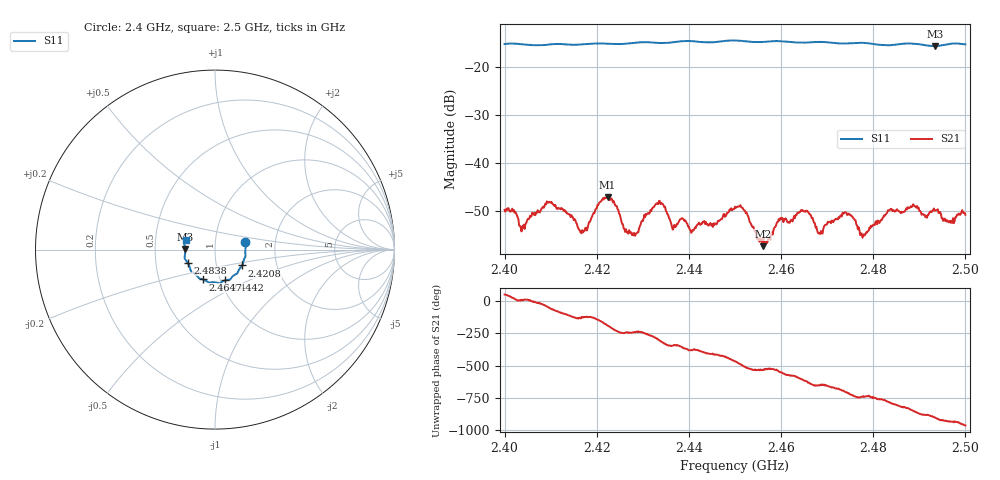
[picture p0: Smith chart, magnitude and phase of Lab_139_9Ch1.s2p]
# Hz S RI R 50
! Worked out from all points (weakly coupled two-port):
!   601 points, 2.4 GHz to 2.5 GHz, reference 50 ohm
!   highest |S21| = -47.14 dB at 2.4223 GHz (marker M1); lowest = -57.3 dB at 2.456 GHz (marker M2)
!   lowest |S11| = -15.6 dB at 2.4935 GHz (marker M3), VSWR 1.40, Z = 35.8 + j0.187 ohm
!   |S11| at or under -10 dB: start of sweep to end of sweep
!   S12 and S22 are empty: the file has one direction only
!   S11 on the Smith chart (normalised r, x): 2.4 GHz: 1.40, +0.12; 2.4208 GHz: 1.33, -0.24; 2.4442 GHz: 1.05, -0.37; 2.4647 GHz: 0.83, -0.29; 2.4838 GHz: 0.73, -0.11; 2.5 GHz: 0.71, +0.08
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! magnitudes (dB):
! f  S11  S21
! 2.4 GHz  -15.2  -49.8
! 2.4038 GHz  -15.3  -53.2
! 2.4097 GHz  -15.3  -48.1
! 2.4167 GHz  -15.3  -54.6
! 2.4208 GHz  -15.1  -48.1
! 2.4223 GHz  -15.1  -47.1
! 2.428 GHz  -15.0  -55.1
! 2.4333 GHz  -15.0  -48.6
! 2.4367 GHz  -14.8  -53.5
! 2.4442 GHz  -14.9  -53.0
! 2.45 GHz  -14.5  -49.1
! 2.456 GHz  -14.8  -57.3
! 2.4647 GHz  -14.9  -49.8
! 2.4667 GHz  -14.8  -51.5
! 2.4685 GHz  -14.8  -54.8
! 2.4743 GHz  -15.1  -50.8
! 2.4777 GHz  -15.0  -55.6
! 2.4833 GHz  -15.5  -49.9
! 2.4838 GHz  -15.4  -49.6
! 2.4935 GHz  -15.6  -49.9
! 2.4967 GHz  -15.2  -52.0
! 2.5 GHz  -15.3  -50.8
